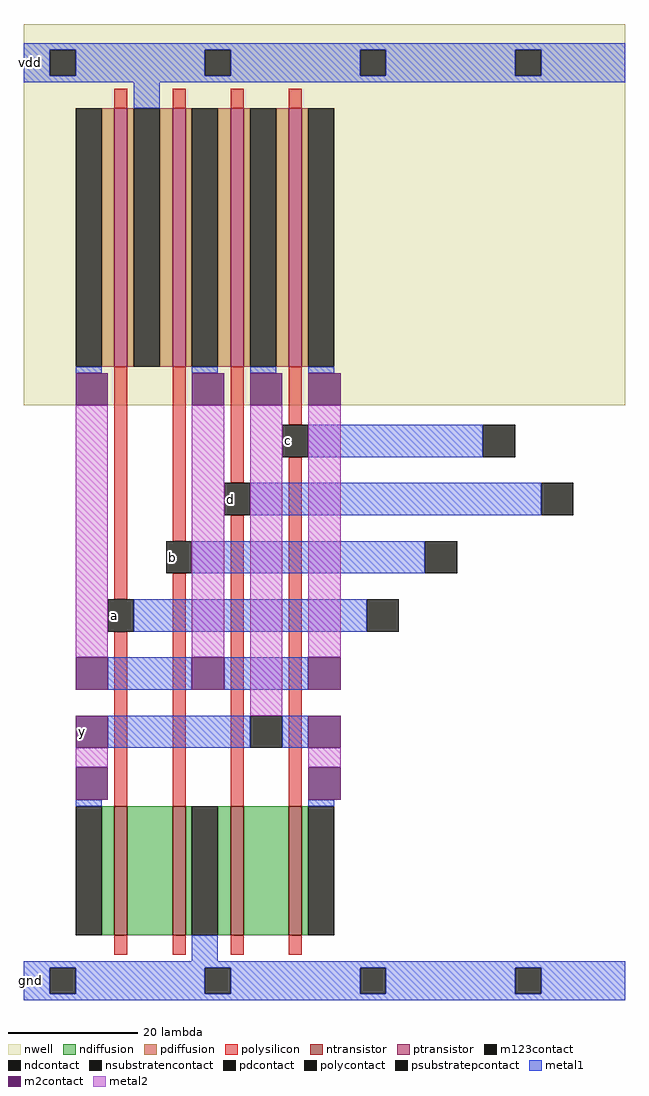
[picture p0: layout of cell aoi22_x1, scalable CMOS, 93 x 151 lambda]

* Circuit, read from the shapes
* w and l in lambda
.subckt aoi22_x1 a b c d y vdd gnd
M1 n1 a y gnd nfet w=20 l=2
M2 gnd b n1 gnd nfet w=20 l=2
M3 n2 d gnd gnd nfet w=20 l=2
M4 y c n2 gnd nfet w=20 l=2
M5 vdd a n3 vdd pfet w=40 l=2
M6 n3 b vdd vdd pfet w=40 l=2
M7 y d n3 vdd pfet w=40 l=2
M8 n3 c y vdd pfet w=40 l=2
.ends

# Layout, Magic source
magic
tech scmos
<< nwell >>
rect 0 92 93 151
<< ntransistor >>
rect 14 10 16 30
rect 23 10 25 30
rect 32 10 34 30
rect 41 10 43 30
<< ptransistor >>
rect 14 98 16 138
rect 23 98 25 138
rect 32 98 34 138
rect 41 98 43 138
<< ndiffusion >>
rect 12 10 14 30
rect 16 10 23 30
rect 25 10 26 30
rect 30 10 32 30
rect 34 10 41 30
rect 43 10 44 30
<< pdiffusion >>
rect 12 98 14 138
rect 16 98 17 138
rect 21 98 23 138
rect 25 98 26 138
rect 30 98 32 138
rect 34 98 35 138
rect 39 98 41 138
rect 43 98 44 138
<< ndcontact >>
rect 8 10 12 30
rect 26 10 30 30
rect 44 10 48 30
<< pdcontact >>
rect 8 98 12 138
rect 17 98 21 138
rect 26 98 30 138
rect 35 98 39 138
rect 44 98 48 138
<< psubstratepcontact >>
rect 4 1 8 5
rect 28 1 32 5
rect 52 1 56 5
rect 76 1 80 5
<< nsubstratencontact >>
rect 4 143 8 147
rect 28 143 32 147
rect 52 143 56 147
rect 76 143 80 147
<< polysilicon >>
rect 14 138 16 141
rect 23 138 25 141
rect 32 138 34 141
rect 41 138 43 141
rect 14 62 16 98
rect 23 71 25 98
rect 32 80 34 98
rect 41 89 43 98
rect 14 30 16 57
rect 23 30 25 66
rect 32 30 34 75
rect 41 30 43 84
rect 14 7 16 10
rect 23 7 25 10
rect 32 7 34 10
rect 41 7 43 10
<< polycontact >>
rect 40 84 44 89
rect 31 75 35 80
rect 22 66 26 71
rect 13 57 17 62
<< metal1 >>
rect 0 147 93 148
rect 0 143 4 147
rect 8 143 28 147
rect 32 143 52 147
rect 56 143 76 147
rect 80 143 93 147
rect 0 142 93 143
rect 17 138 21 142
rect 8 97 12 98
rect 26 97 30 98
rect 35 97 39 98
rect 44 97 48 98
rect 44 84 71 89
rect 35 75 80 80
rect 26 66 62 71
rect 17 57 53 62
rect 13 48 26 53
rect 31 48 44 53
rect 13 39 35 44
rect 40 39 44 44
rect 8 30 12 31
rect 44 30 48 31
rect 26 6 30 10
rect 0 5 93 6
rect 0 1 4 5
rect 8 1 28 5
rect 32 1 52 5
rect 56 1 76 5
rect 80 1 93 5
rect 0 0 93 1
<< m2contact >>
rect 8 92 13 97
rect 26 92 31 97
rect 35 92 40 97
rect 44 92 49 97
rect 8 48 13 53
rect 26 48 31 53
rect 44 48 49 53
rect 8 39 13 44
rect 44 39 49 44
rect 8 31 13 36
rect 44 31 49 36
<< metal2 >>
rect 8 53 13 92
rect 26 53 31 92
rect 35 44 40 92
rect 44 53 49 92
rect 8 36 13 39
rect 44 36 49 39
<< m123contact >>
rect 71 84 76 89
rect 80 75 85 80
rect 62 66 67 71
rect 53 57 58 62
rect 35 39 40 44
<< labels >>
rlabel metal1 13 57 15 62 0 a
port 1 nsew
rlabel metal1 22 66 24 71 0 b
port 2 nsew
rlabel metal1 40 84 42 89 0 c
port 3 nsew
rlabel metal1 31 75 33 80 0 d
port 4 nsew
rlabel m2contact 8 39 10 44 0 y
port 5 nsew
rlabel metal1 0 142 2 148 0 vdd
port 6 nsew
rlabel metal1 0 0 2 6 0 gnd
port 7 nsew
<< end >>
